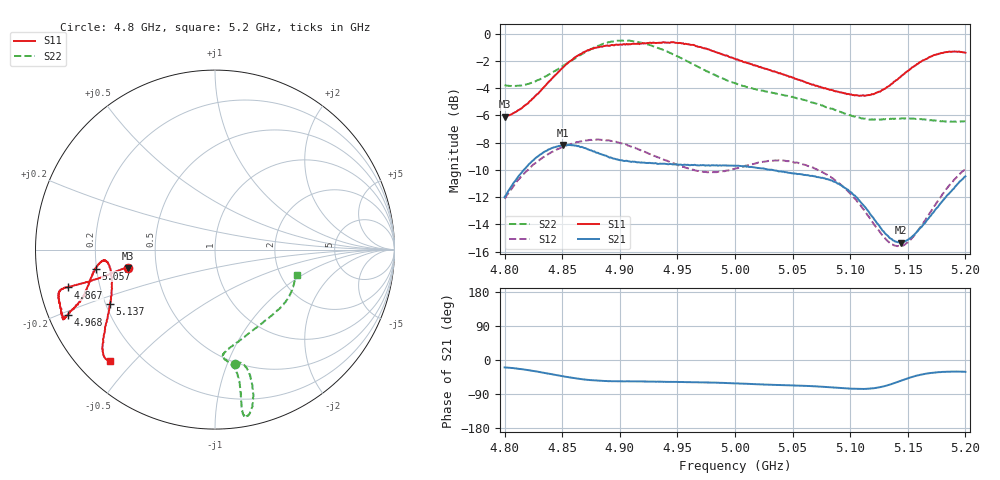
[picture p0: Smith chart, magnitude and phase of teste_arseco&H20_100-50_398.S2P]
! Network Analyzer HP8722D
! Hewlett-Packard
! Data name: Linha & Wilkinson
! Saver's name: Rodrigo Anjos
! Comments: Teste da utilização de aquisição
! continua pelo VNA HP8722D
! Time and date: 6/5/2025 15:53
!  Frequency  S11  S21  S12  S22
# HZ  S  MA R 50
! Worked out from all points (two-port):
!   401 points, 4.8 GHz to 5.2 GHz, reference 50 ohm
!   highest |S21| = -8.16 dB at 4.851 GHz (marker M1); lowest = -15.4 dB at 5.144 GHz (marker M2)
!   |S21| within 3 dB of the highest: 4.806 GHz to 5.093 GHz (286.4 MHz wide, 5.79 % of centre); 5.191906 GHz to end of sweep
!   lowest |S11| = -6.1 dB at 4.8 GHz (marker M3), VSWR 2.97, Z = 17 - j4.61 ohm
!   |S11| at or under -10 dB: nowhere
!   |S22| runs from -6.5 to -0.5 dB; largest |S21 - S12| = 0.62
!   S11 on the Smith chart (normalised r, x): 4.8 GHz: 0.34, -0.09; 4.867 GHz: 0.09, -0.13; 4.968 GHz: 0.06, -0.21; 5.057 GHz: 0.20, -0.08; 5.137 GHz: 0.22, -0.23; 5.2 GHz: 0.09, -0.43
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4.8e9  0.4961 -168.1  0.2513 -19.5  0.2479 -140.7  0.6476 -80.3
4.823e9  0.5695 -167.4  0.3378 -27.9  0.3249 -143.6  0.66 -76.0
4.851e9  0.7554 -165.7  0.3908 -43.1  0.3847 -149.1  0.7639 -74.4
4.867e9  0.8454 -165.6  0.3845 -50.6  0.4032 -151.8  0.8418 -75.2
4.88e9  0.8901 -165.3  0.3655 -54.4  0.409 -153.9  0.8989 -76.5
4.899e9  0.9111 -162.7  0.3446 -56.4  0.3986 -156.5  0.9434 -78.9
4.914e9  0.919 -159.4  0.3381 -56.4  0.3794 -156.9  0.9378 -80.2
4.934e9  0.9271 -156.3  0.3327 -57.4  0.351 -155.6  0.8845 -80.3
4.968e9  0.8958 -156.0  0.3288 -58.9  0.3136 -147.5  0.7563 -79.5
5e9  0.81 -159.0  0.3277 -61.7  0.3198 -137.1  0.6583 -81.2
5.035e9  0.7255 -165.2  0.3146 -65.8  0.3428 -134.2  0.6038 -85.5
5.057e9  0.6732 -170.9  0.305 -67.7  0.3331 -135.8  0.5766 -84.8
5.067e9  0.6503 -172.9  0.3009 -69.0  0.3229 -136.6  0.5587 -82.6
5.083e9  0.6223 -174.3  0.2896 -72.2  0.2983 -138.1  0.5315 -76.7
5.101e9  0.5987 -172.1  0.2614 -75.7  0.2563 -138.7  0.5004 -66.6
5.116e9  0.5956 -165.3  0.2224 -75.8  0.2134 -135.5  0.4849 -55.8
5.134e9  0.644 -154.4  0.1782 -65.4  0.1711 -120.8  0.4862 -43.3
5.137e9  0.6592 -152.5  0.1744 -62.5  0.1681 -117.1  0.4879 -41.5
5.144e9  0.6972 -148.8  0.1708 -54.7  0.1659 -107.7  0.4887 -37.5
5.155e9  0.757 -144.0  0.182 -43.7  0.18 -94.0  0.4883 -32.0
5.173e9  0.8367 -138.7  0.2233 -33.1  0.2328 -80.7  0.4808 -24.3
5.2e9  0.8525 -133.5  0.2995 -31.3  0.3188 -76.7  0.4771 -17.5
